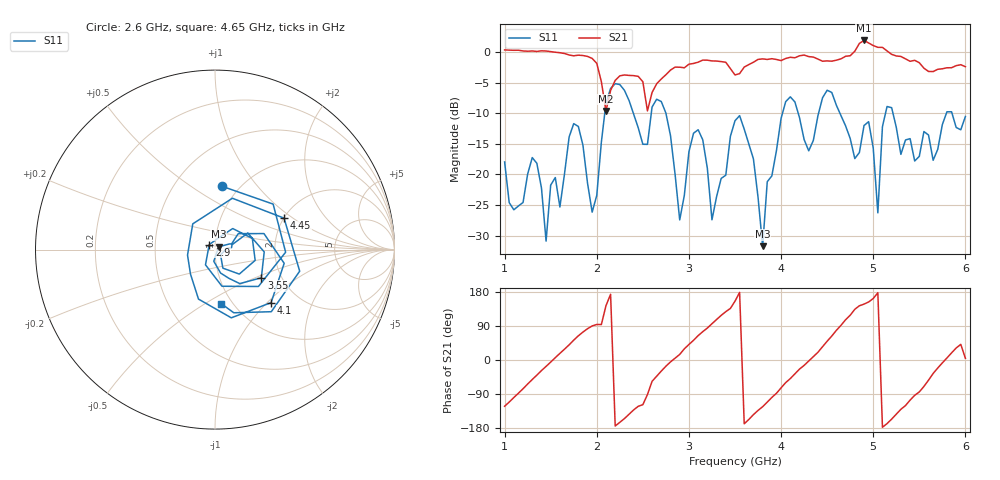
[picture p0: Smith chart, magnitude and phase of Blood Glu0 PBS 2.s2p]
! NanoVNA-App
! Date: 2024-03-20 19:40:15
! Start: 1GHz Stop: 6GHz Points: 101
! S-Parameter data: F S11 S21 S12 S22
# Hz S RI R 50
!  Frequency  S11_Real  S11_Imag  S21_Real  S21_Imag  S12_Real  S12_Imag  S22_Real  S22_Imag
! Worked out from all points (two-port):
!   101 points, 1 GHz to 6 GHz, reference 50 ohm
!   highest |S21| = 1.87 dB at 4.9 GHz (marker M1); lowest = -9.6 dB at 2.1 GHz (marker M2)
!   |S21| within 3 dB of the highest: start of sweep to 1.954 GHz; 4.65 GHz to 5.35 GHz (699.2 MHz wide, 14 % of centre)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
!   lowest |S11| = -31.7 dB at 3.8 GHz (marker M3), VSWR 1.05, Z = 52.1 + j1.64 ohm
!   |S11| at or under -10 dB: start of sweep to 2.087 GHz; 2.75 GHz to 4.015 GHz (1.265 GHz wide, 37.4 % of centre); 5.214 GHz to 5.794 GHz (580.3 MHz wide, 10.5 % of centre)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
!   S12 and S22 are empty: the file has one direction only
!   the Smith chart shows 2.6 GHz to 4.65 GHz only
!   S11 on the Smith chart (normalised r, x): 2.6 GHz: 0.83, +0.67; 2.9 GHz: 0.94, +0.05; 3.55 GHz: 1.58, -0.55; 4.1 GHz: 1.46, -1.06; 4.45 GHz: 2.01, +0.86; 4.65 GHz: 0.89, -0.59
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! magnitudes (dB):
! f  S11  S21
! 1 GHz  -18.0  0.3
! 1.35 GHz  -18.2  0.1
! 1.45 GHz  -30.9  0.2
! 1.85 GHz  -15.2  -0.6
! 1.95 GHz  -26.1  -1.1
! 2.1 GHz  -8.3  -9.6
! 2.6 GHz  -9.0  -6.6
! 2.7 GHz  -8.1  -4.4
! 2.9 GHz  -27.4  -2.5
! 3.05 GHz  -13.3  -1.9
! 3.25 GHz  -27.4  -1.5
! 3.5 GHz  -11.2  -3.8
! 3.55 GHz  -10.4  -3.5
! 3.8 GHz  -31.7  -1.1
! 4.1 GHz  -7.3  -0.9
! 4.35 GHz  -14.4  -0.8
! 4.45 GHz  -7.5  -1.5
! 4.65 GHz  -10.4  -1.1
! 4.9 GHz  -12.0  1.9
! 5.05 GHz  -26.3  0.8
! 5.2 GHz  -9.1  -0.4
! 6 GHz  -10.5  -2.4
